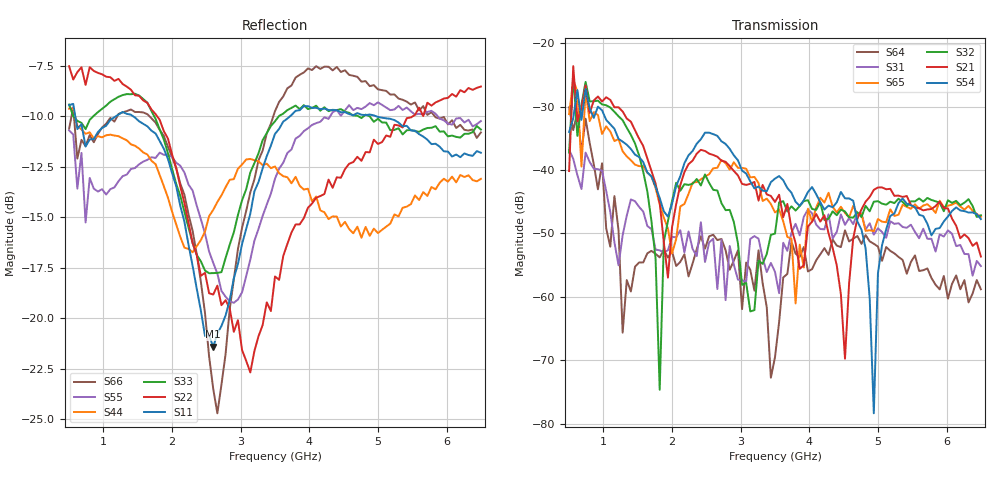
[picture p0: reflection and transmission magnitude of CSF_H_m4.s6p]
!Keysight Technologies,M9804A,MY58100912,A.14.10.03
!Date: Thursday, April 27, 2023 10:28:33
!Correction: S11(C  6-Port  )
!S12(C  6-Port  )
!S13(C  6-Port  )
!S14(C  6-Port  )
!S15(C  6-Port  )
!S16(C  6-Port  )
!S21(C  6-Port  )
!S22(C  6-Port  )
!S23(C  6-Port  )
!S24(C  6-Port  )
!S25(C  6-Port  )
!S26(C  6-Port  )
!S31(C  6-Port  )
!S32(C  6-Port  )
!S33(C  6-Port  )
!S34(C  6-Port  )
!S35(C  6-Port  )
!S36(C  6-Port  )
!S41(C  6-Port  )
!S42(C  6-Port  )
!S43(C  6-Port  )
!S44(C  6-Port  )
!S45(C  6-Port  )
!S46(C  6-Port  )
!S51(C  6-Port  )
!S52(C  6-Port  )
!S53(C  6-Port  )
!S54(C  6-Port  )
!S55(C  6-Port  )
!S56(C  6-Port  )
!S61(C  6-Port  )
!S62(C  6-Port  )
!S63(C  6-Port  )
!S64(C  6-Port  )
!S65(C  6-Port  )
!S66(C  6-Port  )
!S6P File: Measurement: :
# Hz S  RI  R 50
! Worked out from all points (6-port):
!   101 points, 500 MHz to 6.5 GHz, reference 50 ohm
!   strongest paths, dB at 500 MHz, 2 GHz, 3.5 GHz, 5 GHz, 6.5 GHz:
!     S54: -34.0, -45.3, -41.4, -56.3, -47.7
!     S21: -40.2, -49.0, -45.0, -42.7, -53.6
!     S32: -37.2, -44.9, -50.0, -44.9, -47.1
!     S65: -31.2, -53.1, -46.7, -47.7, -47.4
!     S31: -36.8, -50.5, -56.1, -49.2, -55.1
!     S64: -30.1, -52.9, -69.5, -52.1, -58.8
!   lowest |S11| = -21.4 dB at 2.6 GHz (marker M1), VSWR 1.19, Z = 42.5 + j2.17 ohm
!   |S11| at or under -10 dB: 589.9 MHz to 1.177 GHz (587.3 MHz wide, 66.5 % of centre); 1.436 GHz to 3.716 GHz (2.28 GHz wide, 88.5 % of centre); 4.981 GHz to end of sweep
